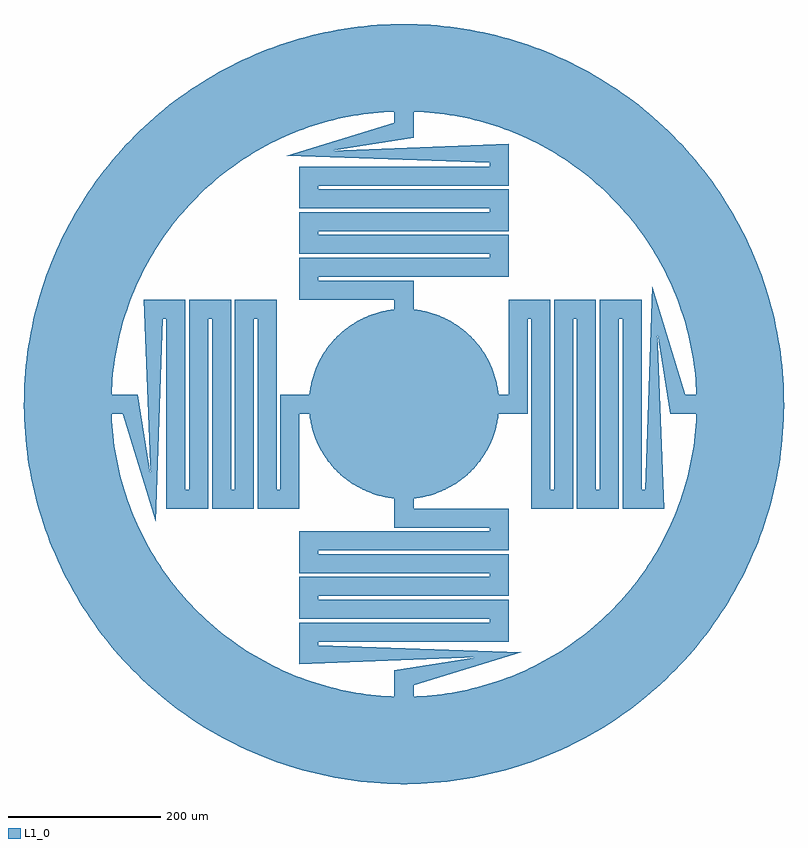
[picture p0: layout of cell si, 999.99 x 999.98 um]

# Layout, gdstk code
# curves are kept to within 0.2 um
import gdstk
lib = gdstk.Library(unit=1e-6, precision=1e-09)
def P(c, l, *ps):  # polygons
    for p in ps: c.add(gdstk.Polygon(p, *l))
L1_0 = (1, 0)

c_si = lib.new_cell('si')
P(c_si, L1_0, [(-1.094,-124.995),(-14.19,-124.192),(-24.989,-122.477),(-37.69,-119.183),(-47.962,-115.433),(-57.867,-110.799),(-69.162,-104.123),(-79.695,-96.3),(-89.35,-87.416),(-98.021,-77.569),(-104.425,-68.706),(-111.051,-57.381),(-116.454,-45.425),(-119.979,-35.073),(-122.994,-22.304),(-124.473,-11.469),(-124.989,1.641),(-124.368,12.558),(-122.366,25.525),(-119.017,38.211),(-115.222,48.466),(-109.507,60.277),(-103.82,69.617),(-95.951,80.115),(-87.024,89.732),(-77.14,98.359),(-68.248,104.724),(-56.895,111.301),(-46.95,115.848),(-36.645,119.508),(-23.917,122.691),(-10.925,124.522),(2.188,124.981),(15.276,124.063),(26.06,122.253),(36.645,119.508),(48.97,115.008),(60.755,109.242),(70.07,103.514),(80.535,95.599),(88.582,88.195),(97.338,78.424),(103.82,69.617),(109.507,60.277),(115.222,48.466),(119.667,36.122),(122.794,23.38),(124.368,12.558),(124.999,-0.547),(124.473,-11.469),(122.585,-24.453),(119.346,-37.168),(114.793,-49.473),(108.975,-61.233),(103.206,-70.523),(96.648,-79.273),(87.806,-88.967),(79.695,-96.3),(69.162,-104.123),(57.867,-110.799),(47.962,-115.433),(37.69,-119.183),(24.989,-122.477),(12.014,-124.421)],
  [(-4.375,-499.981),(-30.609,-499.062),(-56.759,-496.768),(-82.752,-493.105),(-99.958,-489.907),(-125.531,-483.985),(-150.759,-476.73),(-175.57,-468.161),(-199.898,-458.302),(-215.815,-451.025),(-239.188,-439.078),(-261.902,-425.92),(-283.894,-411.588),(-305.103,-396.121),(-325.472,-379.563),(-344.944,-361.959),(-357.4,-349.665),(-375.258,-330.426),(-392.082,-310.277),(-407.826,-289.272),(-417.699,-274.822),(-431.547,-252.522),(-440.12,-237.265),(-451.965,-213.839),(-462.565,-189.825),(-471.89,-165.287),(-479.914,-140.294),(-486.616,-114.914),(-491.976,-89.217),(-494.797,-71.945),(-497.891,-45.878),(-499.612,-19.685),(-499.957,6.563),(-498.923,32.793),(-496.515,58.932),(-492.738,84.908),(-487.603,110.651),(-481.124,136.089),(-476.066,152.843),(-470.426,169.41),(-460.886,193.865),(-450.077,217.786),(-438.027,241.107),(-424.769,263.763),(-410.341,285.692),(-394.782,306.834),(-378.135,327.13),(-360.446,346.524),(-341.763,364.963),(-328.781,376.7),(-318.992,385),(0,385),(-13.474,384.764),(-26.931,384.057),(-47.05,382.114),(-60.394,380.234),(-73.664,377.887),(-93.394,373.5),(-106.408,370.003),(-119.292,366.053),(-138.339,359.287),(-157.004,351.532),(-169.21,345.822),(-181.209,339.688),(-192.986,333.139),(-204.527,326.181),(-221.363,314.997),(-237.59,302.946),(-248.046,294.445),(-258.199,285.584),(-272.831,271.64),(-282.17,261.925),(-291.164,251.89),(-299.801,241.546),(-308.071,230.906),(-319.764,214.419),(-327.073,203.097),(-333.98,191.527),(-343.571,173.735),(-352.216,155.464),(-357.441,143.043),(-362.228,130.446),(-366.571,117.689),(-370.465,104.788),(-375.454,85.201),(-379.408,65.379),(-381.464,52.061),(-383.052,38.679),(-384.554,18.523),(-384.967,5.054),(-384.908,-8.422),(-384.377,-21.887),(-383.376,-35.326),(-380.994,-55.397),(-377.561,-75.316),(-374.694,-88.484),(-371.368,-101.542),(-365.527,-120.892),(-361.072,-133.611),(-356.175,-146.165),(-350.842,-158.54),(-345.078,-170.722),(-335.643,-188.597),(-328.837,-200.228),(-321.629,-211.613),(-310.079,-228.201),(-297.676,-244.16),(-288.949,-254.428),(-279.868,-264.385),(-265.607,-278.708),(-255.69,-287.833),(-245.46,-296.605),(-229.556,-309.078),(-218.598,-316.922),(-207.373,-324.378),(-195.894,-331.437),(-184.175,-338.09),(-166.177,-347.29),(-153.922,-352.893),(-141.477,-358.063),(-122.491,-364.995),(-109.642,-369.058),(-96.659,-372.669),(-76.968,-377.228),(-57.064,-380.748),(-43.704,-382.511),(-30.291,-383.807),(-16.84,-384.632),(-3.369,-384.985),(16.84,-384.632),(37.003,-383.218),(50.392,-381.688),(63.719,-379.691),(83.558,-375.823),(96.659,-372.669),(109.642,-369.058),(128.86,-362.795),(141.477,-358.063),(153.922,-352.893),(166.177,-347.29),(178.23,-341.261),(195.894,-331.437),(213.018,-320.7),(224.111,-313.048),(234.93,-305.013),(245.46,-296.605),(255.69,-287.833),(270.444,-274.017),(284.452,-259.446),(297.676,-244.16),(306.038,-233.593),(317.876,-217.209),(325.283,-205.952),(335.643,-188.597),(345.078,-170.722),(353.563,-152.376),(358.679,-139.909),(365.527,-120.892),(369.534,-108.026),(374.694,-88.484),(377.561,-75.316),(380.994,-55.397),(383.376,-35.326),(384.702,-15.157),(384.967,5.054),(384.171,25.25),(383.052,38.679),(380.494,58.729),(376.888,78.617),(372.242,98.289),(366.571,117.689),(362.228,130.446),(357.441,143.043),(349.441,161.605),(340.478,179.721),(330.577,197.342),(323.468,208.79),(312.065,225.479),(299.801,241.546),(286.711,256.947),(272.831,271.64),(263.157,281.022),(253.161,290.059),(242.855,298.741),(226.842,311.075),(215.817,318.823),(204.527,326.181),(192.986,333.139),(181.209,339.688),(169.21,345.822),(150.828,354.226),(138.339,359.287),(119.292,366.053),(106.408,370.003),(93.394,373.5),(80.266,376.54),(60.394,380.234),(40.355,382.879),(26.931,384.057),(6.738,384.941),(-318.992,385),(-301.625,398.776),(-287.485,409.087),(-272.992,418.898),(-250.631,432.648),(-235.337,441.154),(-211.86,452.897),(-195.88,460.034),(-171.467,469.68),(-154.925,475.393),(-129.762,482.868),(-112.783,487.114),(-87.063,492.362),(-69.779,495.107),(-43.699,498.087),(-17.498,499.694),(0,500),(17.498,499.694),(43.699,498.087),(69.779,495.107),(95.667,490.763),(121.291,485.065),(146.581,478.031),(171.467,469.68),(195.88,460.034),(211.86,452.897),(235.337,441.154),(258.165,428.195),(280.281,414.056),(294.6,403.994),(315.396,387.976),(335.323,370.888),(354.326,352.779),(372.352,333.697),(389.352,313.696),(405.279,292.83),(415.278,278.467),(429.321,256.289),(442.179,233.404),(453.819,209.876),(464.209,185.77),(473.318,161.151),(481.124,136.089),(487.603,110.651),(491.176,93.519),(495.408,67.612),(498.273,41.519),(499.421,24.056),(499.995,-2.188),(499.191,-28.425),(497.012,-54.584),(494.797,-71.945),(490.339,-97.813),(486.616,-114.914),(479.914,-140.294),(471.89,-165.287),(462.565,-189.825),(451.965,-213.839),(440.12,-237.265),(427.061,-260.036),(412.826,-282.09),(402.701,-296.365),(386.592,-317.091),(369.418,-336.943),(351.225,-355.866),(332.065,-373.809),(311.989,-390.721),(291.054,-406.556),(269.316,-421.271),(254.408,-430.438),(231.467,-443.196),(207.888,-454.733),(183.737,-465.017),(159.079,-474.019),(142.392,-479.296),(117.042,-486.108),(91.369,-491.581),(65.444,-495.699),(39.339,-498.45),(13.125,-499.828)])
c_si.add(gdstk.FlexPath([(0,0),(0,150),(-125,150),(-125,180),(125,180),(125,210),(-125,210),(-125,240),(125,240),(125,270),(-125,270),(-125,300),(125,300),(125,330),(-125,330),(-125,330),(0,360),(0,385)], 25, ends="flush", simple_path=True, layer=1, datatype=0))  # L1_0
c_si.add(gdstk.FlexPath([(0,0),(-150,0),(-150,-125),(-180,-125),(-180,125),(-210,125),(-210,-125),(-240,-125),(-240,125),(-270,125),(-270,-125),(-300,-125),(-300,125),(-330,125),(-330,-125),(-330,-125),(-360,0),(-385,0)], 25, ends="flush", simple_path=True, layer=1, datatype=0))  # L1_0
c_si.add(gdstk.FlexPath([(0,0),(0,-150),(125,-150),(125,-180),(-125,-180),(-125,-210),(125,-210),(125,-240),(-125,-240),(-125,-270),(125,-270),(125,-300),(-125,-300),(-125,-330),(125,-330),(125,-330),(0,-360),(0,-385)], 25, ends="flush", simple_path=True, layer=1, datatype=0))  # L1_0
c_si.add(gdstk.FlexPath([(0,0),(150,0),(150,125),(180,125),(180,-125),(210,-125),(210,125),(240,125),(240,-125),(270,-125),(270,125),(300,125),(300,-125),(330,-125),(330,125),(330,125),(360,0),(385,0)], 25, ends="flush", simple_path=True, layer=1, datatype=0))  # L1_0

lib.write_gds('si.gds')
